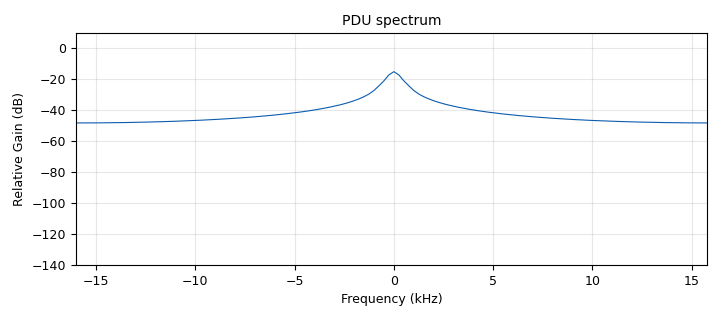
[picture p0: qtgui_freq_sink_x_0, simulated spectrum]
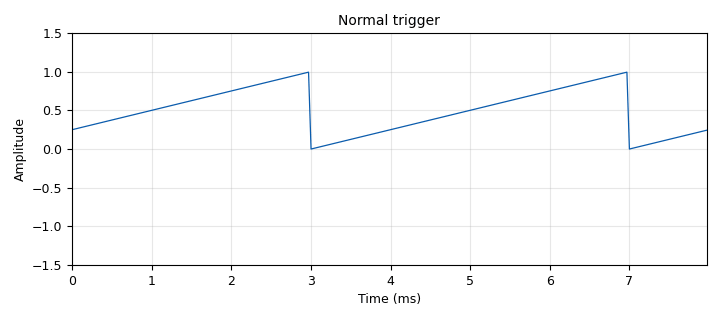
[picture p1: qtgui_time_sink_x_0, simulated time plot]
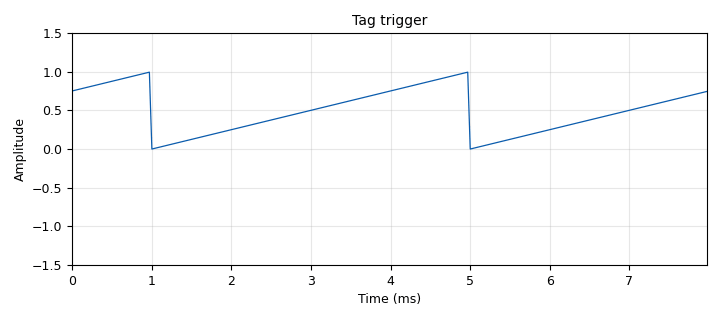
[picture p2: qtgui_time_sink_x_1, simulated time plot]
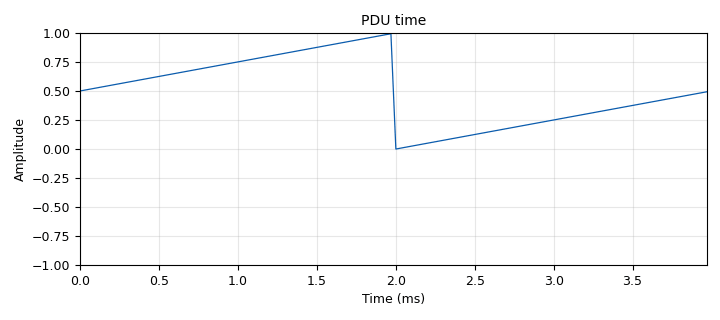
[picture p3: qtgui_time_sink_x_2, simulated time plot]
options:
  parameters:
    generate_options: qt_gui
    id: web_triggers
    output_language: python
    title: '''Triggers, tags and PDUs'''
  states: {}

blocks:
- name: samp_rate
  id: variable
  parameters:
    value: '32000'
  states: {}
- name: analog_sig_source_x_0
  id: analog_sig_source_x
  parameters:
    amp: '1'
    freq: '250'
    offset: '0'
    phase: '0'
    samp_rate: samp_rate
    type: float
    waveform: analog.GR_SAW_WAVE
  states: {}
- name: blocks_add_xx_0
  id: blocks_add_xx
  parameters:
    type: float
  states: {}
- name: blocks_stream_to_tagged_stream_0
  id: blocks_stream_to_tagged_stream
  parameters:
    len_tag_key: '"packet_len"'
    packet_len: '128'
    type: float
  states: {}
- name: blocks_tags_strobe_0
  id: blocks_tags_strobe
  parameters:
    key: pmt.intern('burst')
    nsamps: '4000'
    type: float
    value: pmt.from_long(1)
  states: {}
- name: blocks_throttle2_0
  id: blocks_throttle2
  parameters:
    samples_per_second: samp_rate
    type: float
  states: {}
- name: pdu_tagged_stream_to_pdu_0
  id: pdu_tagged_stream_to_pdu
  parameters:
    tag: packet_len
    type: float
  states: {}
- name: qtgui_freq_sink_x_0
  id: qtgui_freq_sink_x
  parameters:
    bw: samp_rate
    fc: '0'
    fftsize: '128'
    gui_hint: 1,1
    name: '''PDU spectrum'''
    type: msg_float
  states: {}
- name: qtgui_time_sink_x_0
  id: qtgui_time_sink_x
  parameters:
    gui_hint: 0,0
    name: '''Normal trigger'''
    size: '256'
    srate: samp_rate
    tr_delay: '0.001'
    tr_level: '0.5'
    tr_mode: qtgui.TRIG_MODE_NORM
    type: float
    ymax: '1.5'
    ymin: '-1.5'
  states: {}
- name: qtgui_time_sink_x_1
  id: qtgui_time_sink_x
  parameters:
    gui_hint: 0,1
    name: '''Tag trigger'''
    size: '256'
    srate: samp_rate
    tr_mode: qtgui.TRIG_MODE_TAG
    tr_tag: '"burst"'
    type: float
    ymax: '1.5'
    ymin: '-1.5'
  states: {}
- name: qtgui_time_sink_x_2
  id: qtgui_time_sink_x
  parameters:
    gui_hint: 1,0
    name: '''PDU time'''
    size: '128'
    srate: samp_rate
    type: msg_float
  states: {}

connections:
- [analog_sig_source_x_0, '0', blocks_throttle2_0, '0']
- [blocks_add_xx_0, '0', blocks_stream_to_tagged_stream_0, '0']
- [blocks_add_xx_0, '0', qtgui_time_sink_x_0, '0']
- [blocks_add_xx_0, '0', qtgui_time_sink_x_1, '0']
- [blocks_stream_to_tagged_stream_0, '0', pdu_tagged_stream_to_pdu_0, '0']
- [blocks_tags_strobe_0, '0', blocks_add_xx_0, '1']
- [blocks_throttle2_0, '0', blocks_add_xx_0, '0']
- [pdu_tagged_stream_to_pdu_0, pdus, qtgui_freq_sink_x_0, in]
- [pdu_tagged_stream_to_pdu_0, pdus, qtgui_time_sink_x_2, in]

metadata:
  file_format: 1
  grc_version: 3.10.12.0
